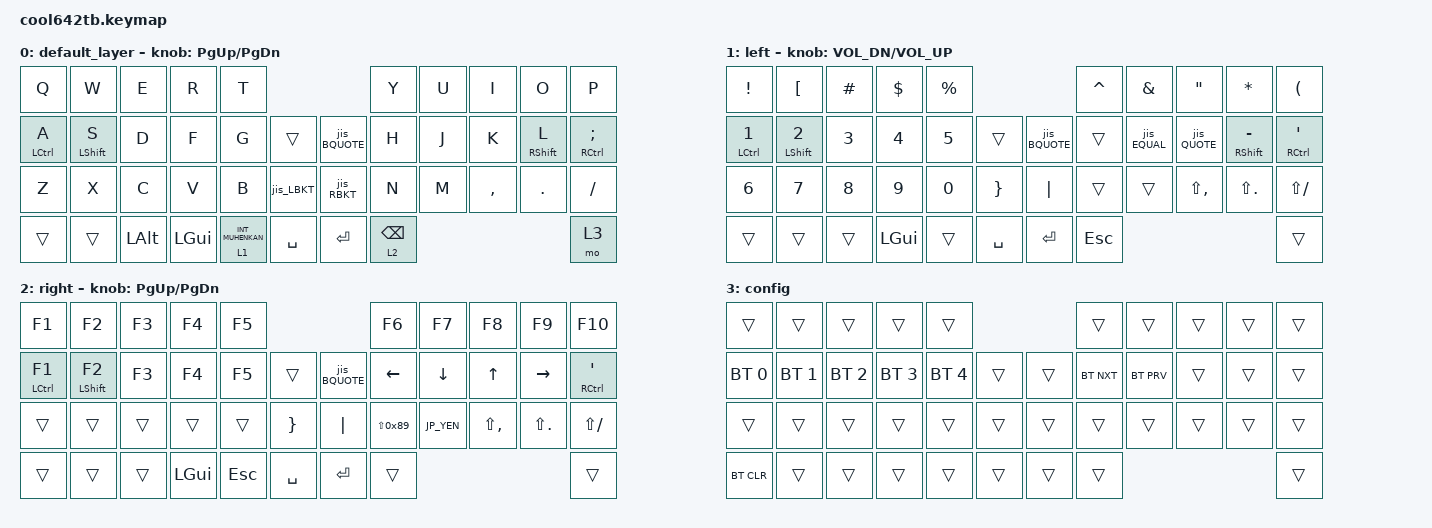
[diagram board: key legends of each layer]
#include <behaviors.dtsi>
#include <dt-bindings/zmk/bt.h>
#include <dt-bindings/zmk/keys.h>

#define MOUSE  4
#define SCROLL 5
#define NUM    6

// OS設定を日本語キーボードのまま使用するための変換定義

#define JP_DQUOTE     AT               // "
#define JP_AMPERSAND  CARET            // &
#define JP_QUOTE      AMPERSAND        // '
#define JP_EQUAL      UNDER            // =
#define JP_CARET      EQUAL            // ^
#define JP_YEN        0x89             // ¥
#define JP_PLUS       COLON            // +
#define JP_TILDE      PLUS             // ~
#define JP_PIPE       LS(0x89)         // |
#define JP_AT         LEFT_BRACKET     // @
#define JP_COLON      SINGLE_QUOTE     // :
#define JP_ASTRK      DOUBLE_QUOTES    // *
#define JP_BACKQUOTE  LEFT_BRACE       // `
#define JP_UNDERSCORE LS(0x87)         // _
#define JP_LBRACKET   RIGHT_BRACKET    // [
#define JP_RBRACKET   BACKSLASH        // ]
#define JP_LPAREN     ASTERISK         // (
#define JP_RPAREN     LEFT_PARENTHESIS // )
#define JP_LBRACE     RIGHT_BRACE      // {
#define JP_RBRACE     PIPE             // }
#define JP_KANA       LANGUAGE_1       // かな
#define JP_EISU       LANGUAGE_2       // 英数
#define JP_HANZEN     GRAVE            // 半角/全角

&mt {
    flavor = "tap-preferred";
    quick-tap-ms = <150>;
    tapping-term-ms = <250>;
};

&lt { quick-tap-ms = <150>; };

/ {
    combos {
        compatible = "zmk,combos";

        comb1 {
            bindings = <&kp TAB>;
            key-positions = <11 12>;
        };

        muhenkan {
            bindings = <&kp INTERNATIONAL_5>;
            key-positions = <13 12>;
        };

        henkan {
            bindings = <&kp INT_HENKAN>;
            key-positions = <18 19>;
        };
    };

    macros {
        to_layer_0: to_layer_0 {
            compatible = "zmk,behavior-macro-one-param";
            #binding-cells = <1>;
            bindings = <&to 0 &macro_param_1to1 &kp MACRO_PLACEHOLDER>;
            label = "TO_LAYER_0";
        };
    };

    behaviors {
        // \ , shift: |

        jis_BACKSLASH: jis_BACKSLASH {
            compatible = "zmk,behavior-mod-morph";
            label = "jis_BACKSLASH";
            #binding-cells = <0>;
            bindings = <&kp JP_YEN>, <&kp JP_PIPE>;

            mods = <(MOD_LSFT|MOD_RSFT)>;
        };

        // = , shift: +

        jis_EQUAL: jis_EQUAL {
            compatible = "zmk,behavior-mod-morph";
            label = "jis_EQUAL";
            #binding-cells = <0>;
            bindings = <&kp JP_EQUAL>, <&kp JP_PLUS>;

            mods = <(MOD_LSFT|MOD_RSFT)>;
        };

        // ' , shift: "

        jis_QUOTE: jis_QUOTE {
            compatible = "zmk,behavior-mod-morph";
            label = "jis_QUOTE";
            #binding-cells = <0>;
            bindings = <&kp JP_QUOTE>, <&kp JP_DQUOTE>;

            mods = <(MOD_LSFT|MOD_RSFT)>;
        };

        // `, shift: ~

        jis_BQUOTE: jis_BQUOTE {
            compatible = "zmk,behavior-mod-morph";
            label = "jis_BQUOTE";
            #binding-cells = <0>;
            bindings = <&kp JP_BACKQUOTE>, <&kp JP_TILDE>;

            mods = <(MOD_LSFT|MOD_RSFT)>;
        };

        // -, shift: _

        jis_MINUS: jis_MINUS {
            compatible = "zmk,behavior-mod-morph";
            label = "jis_MINUS";
            #binding-cells = <0>;
            bindings = <&kp MINUS>, <&kp JP_UNDERSCORE>;

            mods = <(MOD_LSFT|MOD_RSFT)>;
        };

        ht_jis_MINUS: ht_jis_MINUS {
            compatible = "zmk,behavior-hold-tap";
            label = "ht_jis_MINUS";
            #binding-cells = <2>;
            bindings = <&kp>, <&jis_MINUS>;

            tapping-term-ms = <200>;
            quick-tap-ms = <0>;
            flavor = "tap-preferred";
        };

        // [ , shift: {

        jis_LBKT: jis_LBKT {
            compatible = "zmk,behavior-mod-morph";
            label = "jis_LBKT";
            #binding-cells = <0>;
            bindings = <&kp JP_LBRACKET>, <&kp JP_LBRACE>;

            mods = <(MOD_LSFT|MOD_RSFT)>;
        };

        // ] , shift: }

        jis_RBKT: jis_RBKT {
            compatible = "zmk,behavior-mod-morph";
            label = "jis_RBKT";
            #binding-cells = <0>;
            bindings = <&kp JP_RBRACKET>, <&kp JP_RBRACE>;

            mods = <(MOD_LSFT|MOD_RSFT)>;
        };

        // ;, shift: :

        jis_COLON: jis_COLON {
            compatible = "zmk,behavior-mod-morph";
            label = "jis_COLON";
            #binding-cells = <0>;
            bindings = <&kp SEMI>, <&kp JP_COLON>;

            mods = <(MOD_LSFT|MOD_RSFT)>;
        };

        ht_jis_COLON: ht_jis_COLON {
            compatible = "zmk,behavior-hold-tap";
            label = "TAPMOD_COLON";
            #binding-cells = <2>;
            bindings = <&kp>, <&jis_COLON>;

            tapping-term-ms = <200>;
            quick-tap-ms = <0>;
            flavor = "tap-preferred";
        };
    };

    keymap {
        compatible = "zmk,keymap";

        default_layer {
            bindings = <
&kp Q        &kp W             &kp E         &kp R         &kp T                                       &kp Y       &kp U  &kp I      &kp O              &kp P
&mt LCTRL A  &mt LEFT_SHIFT S  &kp D         &kp F         &kp G               &trans     &jis_BQUOTE  &kp H       &kp J  &kp K      &mt RIGHT_SHIFT L  &ht_jis_COLON RCTRL SEMI
&kp Z        &kp X             &kp C         &kp V         &kp B               &jis_LBKT  &jis_RBKT    &kp N       &kp M  &kp COMMA  &kp PERIOD         &kp SLASH
&trans       &trans            &kp LEFT_ALT  &kp LEFT_GUI  &lt 1 INT_MUHENKAN  &kp SPACE  &kp ENTER    &lt 2 BKSP                                       &mo 3
            >;

            sensor-bindings = <&inc_dec_kp PG_UP PAGE_DOWN>;
        };

        left {
            bindings = <
&kp EXCL      &kp JP_AT          &kp HASH  &kp DLLR      &kp PRCNT                                &kp CARET   &kp AMPS    &kp JP_ASTRK   &kp JP_LPAREN                    &kp JP_RPAREN
&mt LCTRL N1  &mt LEFT_SHIFT N2  &kp N3    &kp N4        &kp N5     &trans         &jis_BQUOTE    &trans      &jis_EQUAL  &jis_QUOTE     &ht_jis_MINUS RIGHT_SHIFT MINUS  &mt RCTRL JP_COLON
&kp N6        &kp N7             &kp N8    &kp N9        &kp N0     &kp JP_LBRACE  &kp JP_RBRACE  &trans      &trans      &kp LS(COMMA)  &kp LS(PERIOD)                   &kp LS(SLASH)
&trans        &trans             &trans    &kp LEFT_GUI  &trans     &kp SPACE      &kp ENTER      &kp ESCAPE                                                              &trans
            >;

            sensor-bindings = <&inc_dec_kp C_VOL_DN C_VOL_UP>;
        };

        right {
            bindings = <
&kp F1        &kp F2             &kp F3  &kp F4        &kp F5                                    &kp F6       &kp F7          &kp F8         &kp F9          &kp F10
&mt LCTRL F1  &mt LEFT_SHIFT F2  &kp F3  &kp F4        &kp F5      &trans         &jis_BQUOTE    &kp LEFT     &kp DOWN_ARROW  &kp UP_ARROW   &kp RIGHT       &mt RCTRL JP_COLON
&trans        &trans             &trans  &trans        &trans      &kp JP_LBRACE  &kp JP_RBRACE  &kp JP_PIPE  &kp JP_YEN      &kp LS(COMMA)  &kp LS(PERIOD)  &kp LS(SLASH)
&trans        &trans             &trans  &kp LEFT_GUI  &kp ESCAPE  &kp SPACE      &kp ENTER      &trans                                                      &trans
            >;

            sensor-bindings = <&inc_dec_kp PG_UP PAGE_DOWN>;
        };

        config {
            bindings = <
&trans        &trans        &trans        &trans        &trans                        &trans      &trans      &trans  &trans  &trans
&bt BT_SEL 0  &bt BT_SEL 1  &bt BT_SEL 2  &bt BT_SEL 3  &bt BT_SEL 4  &trans  &trans  &bt BT_NXT  &bt BT_PRV  &trans  &trans  &trans
&trans        &trans        &trans        &trans        &trans        &trans  &trans  &trans      &trans      &trans  &trans  &trans
&bt BT_CLR    &trans        &trans        &trans        &trans        &trans  &trans  &trans                                  &trans
            >;
        };
    };
};
